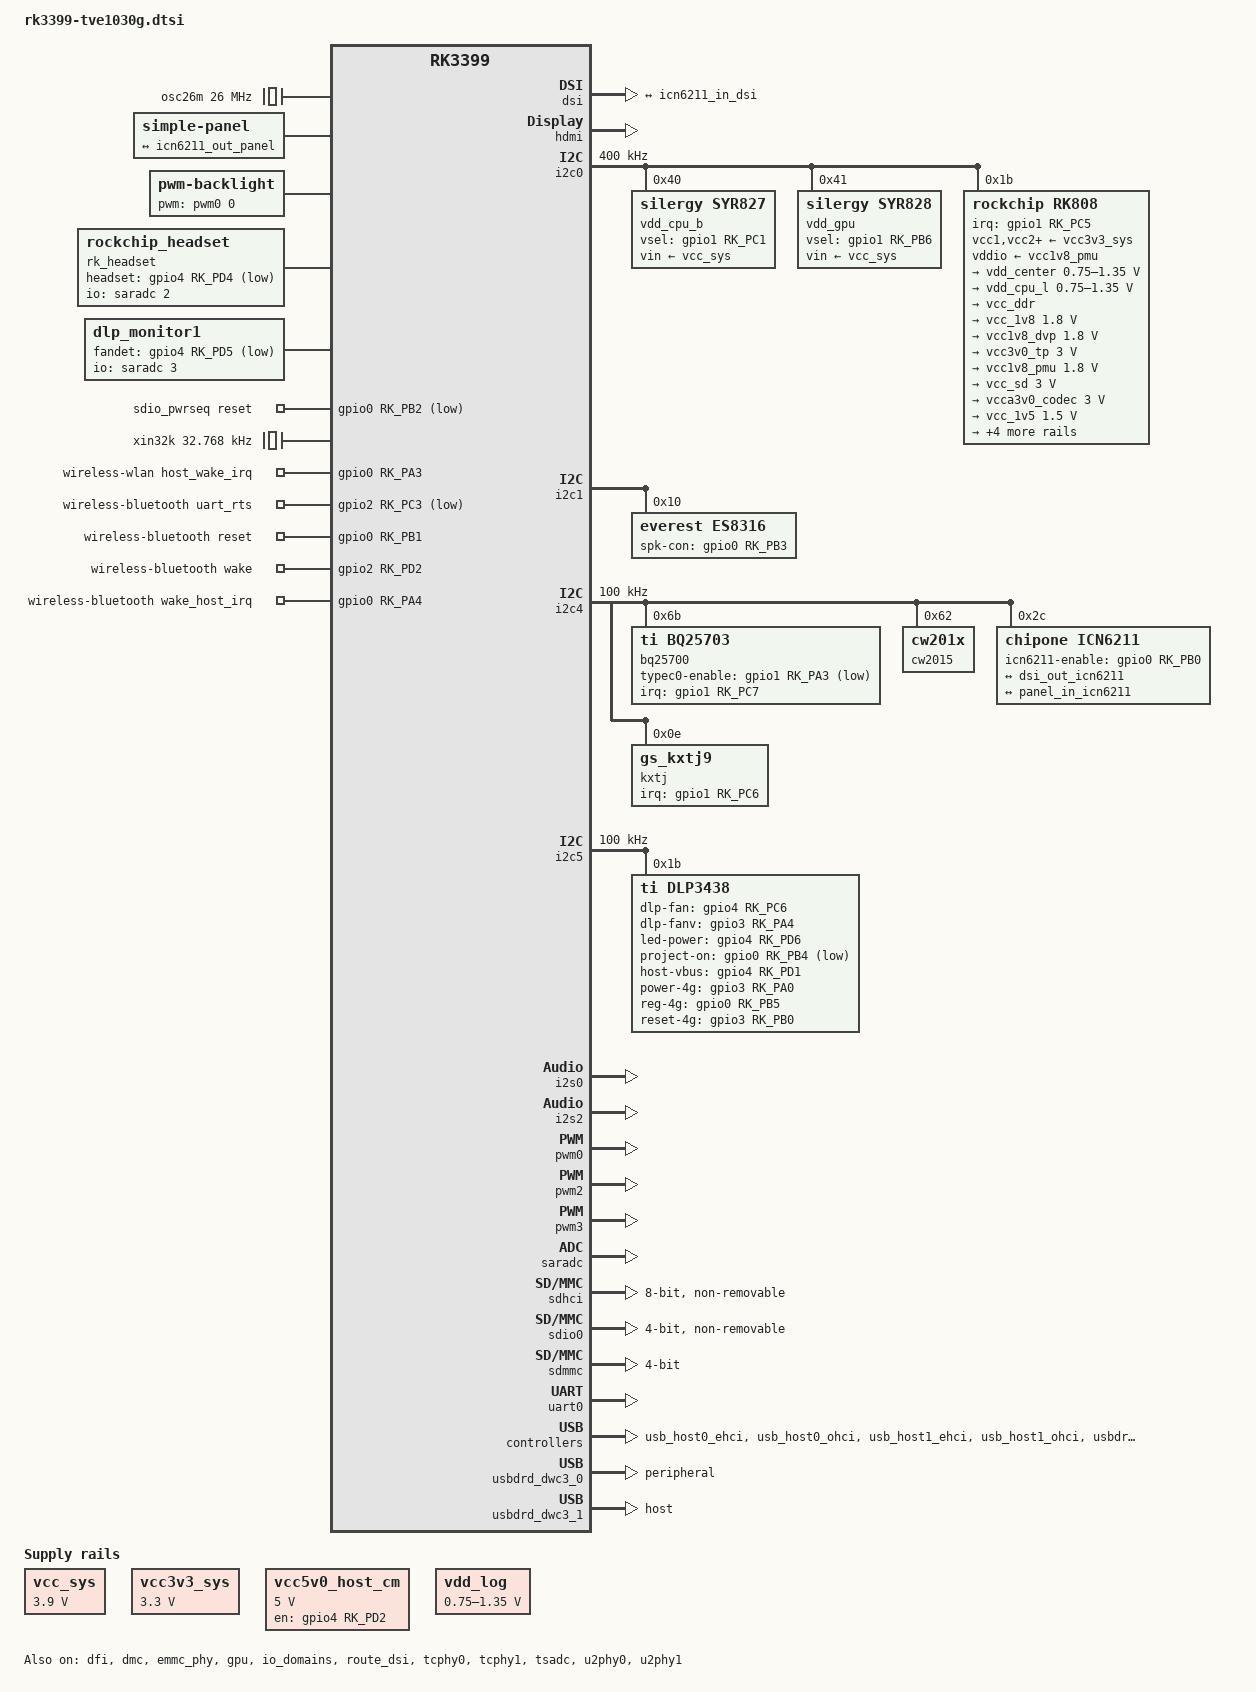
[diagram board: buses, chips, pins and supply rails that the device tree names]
/*
 * Copyright (c) 2018 Fuzhou Rockchip Electronics Co., Ltd
 *
 * SPDX-License-Identifier: (GPL-2.0+ OR MIT)
 */

/dts-v1/;
#include <dt-bindings/pwm/pwm.h>
#include <dt-bindings/sensor-dev.h>
#include "rk3399.dtsi"
#include "rk3399-android.dtsi"
#include "rk3399-opp.dtsi"
#include "rk3399-vop-clk-set.dtsi"
#include <dt-bindings/input/input.h>	//20191116 KentYu added for supporting IR
//dlp_v1/dlp_v2				//KentYu added 20200516

/ {
	osc26m: osc26m {//KentYu
		compatible = "fixed-clock";
		#clock-cells = <0>;
		clock-frequency = <26000000>;
	};

	panel: panel {
		status = "okay";

		compatible = "simple-panel";
		enable-delay-ms = <20>;
		prepare-delay-ms = <20>;
		unprepare-delay-ms = <20>;
		disable-delay-ms = <20>;

		display-timings {
			native-mode = <&timing0>;

			timing0: timing0 {
				clock-frequency = <68000000>;
				hactive = <1280>;
				hfront-porch = <110>;
				hback-porch = <220>;
				hsync-len = <40>;
				vactive = <720>;
				vfront-porch = <5>;
				vback-porch = <20>;
				vsync-len = <5>;
				hsync-active = <0>;
				vsync-active = <0>;
				de-active = <0>;
				pixelclk-active = <0>;
			};
		};

		port {
			panel_in_icn6211: endpoint {
					remote-endpoint = <&icn6211_out_panel>;
			};
		};
	};

	backlight: backlight {
		compatible = "pwm-backlight";
		pwms = <&pwm0 0 25000 0>;
		brightness-levels = <
			  0  20  20  21  21  22  22  23
			 23  24  24  25  25  26  26  27
			 27  28  28  29  29  30  30  31
			 31  32  32  33  33  34  34  35
			 35  36  36  37  37  38  38  39
			 40  41  42  43  44  45  46  47
			 48  49  50  51  52  53  54  55
			 56  57  58  59  60  61  62  63
			 64  65  66  67  68  69  70  71
			 72  73  74  75  76  77  78  79
			 80  81  82  83  84  85  86  87
			 88  89  90  91  92  93  94  95
			 96  97  98  99 100 101 102 103
			104 105 106 107 108 109 110 111
			112 113 114 115 116 117 118 119
			120 121 122 123 124 125 126 127
			128 129 130 131 132 133 134 135
			136 137 138 139 140 141 142 143
			144 145 146 147 148 149 150 151
			152 153 154 155 156 157 158 159
			160 161 162 163 164 165 166 167
			168 169 170 171 172 173 174 175
			176 177 178 179 180 181 182 183
			184 185 186 187 188 189 190 191
			192 193 194 195 196 197 198 199
			200 201 202 203 204 205 206 207
			208 209 210 211 212 213 214 215
			216 217 218 219 220 221 222 223
			224 225 226 227 228 229 230 231
			232 233 234 235 236 237 238 239
			240 241 242 243 244 245 246 247
			248 249 250 251 252 253 254 255
		>;
		default-brightness-level = <200>;
	};

	es8316-sound {
		compatible = "simple-audio-card";
		simple-audio-card,format = "i2s";
		simple-audio-card,name = "rockchip,es8316-codec";
		simple-audio-card,mclk-fs = <256>;
		simple-audio-card,widgets =
			"Microphone", "Mic Jack",
			"Headphone", "Headphone Jack";
		simple-audio-card,routing =
			"Mic Jack", "MICBIAS1",
			"IN1P", "Mic Jack",
			"Headphone Jack", "HPOL",
			"Headphone Jack", "HPOR";
		simple-audio-card,cpu {
			sound-dai = <&i2s0>;
		};
		simple-audio-card,codec {
			sound-dai = <&es8316>;
		};
	};

	rk_headset {
		compatible = "rockchip_headset";
		headset_gpio = <&gpio4 RK_PD4 GPIO_ACTIVE_LOW>;
		pinctrl-names = "default";
		pinctrl-0 = <&hp_det>;
		io-channels = <&saradc 2>;
	};

//dlp_v2				////KentYu added 20200516
	dlp_monitor1 {
		compatible = "dlp_monitor1";
		fandet_gpio = <&gpio4 RK_PD5 GPIO_ACTIVE_LOW>;//GPIO_ACTIVE_LOW means input

		pinctrl-names = "default";
		pinctrl-0 = <&dlp_fandet_gpio>;
		io-channels = <&saradc 3>;
	};
//end

	sdio_pwrseq: sdio-pwrseq {
		compatible = "mmc-pwrseq-simple";
		clocks = <&rk808 1>;
		clock-names = "ext_clock";
		pinctrl-names = "default";
		pinctrl-0 = <&wifi_enable_h>;

		/*
		 * On the module itself this is one of these (depending
		 * on the actual card populated):
		 * - SDIO_RESET_L_WL_REG_ON
		 * - PDN (power down when low)
		 */
		reset-gpios = <&gpio0 RK_PB2 GPIO_ACTIVE_LOW>;
	};

	uboot-charge {
		compatible = "rockchip,uboot-charge";
		rockchip,uboot-charge-on = <0>;
		rockchip,android-charge-on = <1>;
	};

	vcc_sys: vcc-sys {
		compatible = "regulator-fixed";
		regulator-name = "vcc_sys";
		regulator-always-on;
		regulator-boot-on;
		regulator-min-microvolt = <3900000>;
		regulator-max-microvolt = <3900000>;
	};

	vcc3v3_sys: vcc3v3-sys {
		compatible = "regulator-fixed";
		regulator-name = "vcc3v3_sys";
		regulator-always-on;
		regulator-boot-on;
		regulator-min-microvolt = <3300000>;
		regulator-max-microvolt = <3300000>;
	};

/*//jjj
	vcc5v0_host: vcc5v0-host-regulator {
		compatible = "regulator-fixed";
		gpio = <&gpio4 RK_PD1 GPIO_ACTIVE_HIGH>;	//KentYu ???
		pinctrl-names = "default";
		pinctrl-0 = <&host_vbus_drv>;
		regulator-name = "vcc5v0_host";
		regulator-min-microvolt = <5000000>;
		regulator-max-microvolt = <5000000>;
		regulator-always-on;
		enable-active-high;
	};
*/

	vcc5v0_host_cm: vcc5v0-host-regulator {
		compatible = "regulator-fixed";
		gpio = <&gpio4 RK_PD2 GPIO_ACTIVE_HIGH>;	//KentYu 
		pinctrl-names = "default";
		pinctrl-0 = <&host_vbus_cm_drv>;
		regulator-name = "vcc5v0_host_cm";
		regulator-min-microvolt = <5000000>;
		regulator-max-microvolt = <5000000>;
		regulator-always-on;
		enable-active-high;
	};

	vdd_log: vdd-log {
		compatible = "pwm-regulator";
		pwms = <&pwm2 0 25000 1>;
		rockchip,pwm_id= <2>;
		rockchip,pwm_voltage = <900000>;
		regulator-name = "vdd_log";
		regulator-min-microvolt = <750000>;
		regulator-max-microvolt = <1350000>;
		regulator-always-on;
		regulator-boot-on;
	};

	xin32k: xin32k {
		compatible = "fixed-clock";
		clock-frequency = <32768>;
		clock-output-names = "xin32k";
		#clock-cells = <0>;
	};

	wireless-wlan {
		compatible = "wlan-platdata";
		rockchip,grf = <&grf>;
		wifi_chip_type = "ap6255";
		sdio_vref = <1800>;
		WIFI,host_wake_irq = <&gpio0 RK_PA3 GPIO_ACTIVE_HIGH>;
		status = "okay";
	};

	wireless-bluetooth {
		compatible = "bluetooth-platdata";
		clocks = <&rk808 1>;
		clock-names = "ext_clock";
		uart_rts_gpios = <&gpio2 RK_PC3 GPIO_ACTIVE_LOW>;
		pinctrl-names = "default", "rts_gpio";
		pinctrl-0 = <&uart0_rts>;
		pinctrl-1 = <&uart0_gpios>;
		BT,reset_gpio    = <&gpio0 RK_PB1 GPIO_ACTIVE_HIGH>;
		BT,wake_gpio     = <&gpio2 RK_PD2 GPIO_ACTIVE_HIGH>;
		BT,wake_host_irq = <&gpio0 RK_PA4 GPIO_ACTIVE_HIGH>;
		status = "okay";
	};

	dp_sound: dp-sound {
		status = "disable";//KentYu
		compatible = "rockchip,cdndp-sound";
		rockchip,cpu = <&spdif>;
		rockchip,codec = <&cdn_dp 1>;
	};

	/*
	* if enable dp_sound, should disable spdif_sound and spdif_out
	*/
	spdif_sound: spdif-sound {
		compatible = "simple-audio-card";
		status = "disabled";

		simple-audio-card,name = "ROCKCHIP,SPDIF";
		simple-audio-card,cpu {
			sound-dai = <&spdif>;
		};
		simple-audio-card,codec {
			sound-dai = <&spdif_out>;
		};
	};

	spdif_out: spdif-out {
		compatible = "linux,spdif-dit";
		status = "disabled";

		#sound-dai-cells = <0>;
	};
};

//host//KentYu
/*
&cdn_dp {
	status = "okay";
	extcon = <&fusb0>;
	phys = <&tcphy0_dp>;
};
*/

&cpu_l0 {
	cpu-supply = <&vdd_cpu_l>;
};

&cpu_l1 {
	cpu-supply = <&vdd_cpu_l>;
};

&cpu_l2 {
	cpu-supply = <&vdd_cpu_l>;
};

&cpu_l3 {
	cpu-supply = <&vdd_cpu_l>;
};

&cpu_b0 {
	cpu-supply = <&vdd_cpu_b>;
};

&cpu_b1 {
	cpu-supply = <&vdd_cpu_b>;
};

&dfi {
	status = "okay";
};

&dmc {
	status = "okay";
	system-status-freq = <
		/*system status         freq(KHz)*/
		SYS_STATUS_NORMAL       856000
		SYS_STATUS_REBOOT       416000
		SYS_STATUS_SUSPEND      416000
		SYS_STATUS_VIDEO_1080P  856000
		SYS_STATUS_VIDEO_4K     856000
		SYS_STATUS_VIDEO_4K_10B 856000
		SYS_STATUS_PERFORMANCE  856000
		SYS_STATUS_BOOST        856000
		SYS_STATUS_DUALVIEW     856000
		SYS_STATUS_ISP          856000
	>;
    vop-bw-dmc-freq = <
    /* min_bw(MB/s) max_bw(MB/s) freq(KHz) */
            0       577      416000
            578     99999    856000
    >;
	auto-min-freq = <416000>;
	auto-freq-en = <0>;
};

&dmc_opp_table {
	compatible = "operating-points-v2";

	opp-200000000 {
		opp-hz = /bits/ 64 <200000000>;
		opp-microvolt = <900000>;
		status = "disabled";
	};
	opp-300000000 {
		opp-hz = /bits/ 64 <300000000>;
		opp-microvolt = <900000>;
		status = "disabled";
	};
	opp-400000000 {
		opp-hz = /bits/ 64 <400000000>;
		opp-microvolt = <900000>;
        status = "disabled";
	};
    opp-416000000 {
		opp-hz = /bits/ 64 <416000000>;
		opp-microvolt = <900000>;
	};
	opp-528000000 {
		opp-hz = /bits/ 64 <528000000>;
		opp-microvolt = <900000>;
		status = "disabled";
	};
	opp-600000000 {
		opp-hz = /bits/ 64 <600000000>;
		opp-microvolt = <900000>;
		status = "disabled";
	};
	opp-800000000 {
		opp-hz = /bits/ 64 <800000000>;
		opp-microvolt = <900000>;
        status = "disabled";
	};
    opp-856000000 {
		opp-hz = /bits/ 64 <856000000>;
		opp-microvolt = <900000>;
	};
	opp-928000000 {
		opp-hz = /bits/ 64 <928000000>;
		opp-microvolt = <900000>;
		status = "disabled";
	};
	opp-1056000000 {
		opp-hz = /bits/ 64 <1056000000>;
		opp-microvolt = <900000>;
		status = "disabled";
	};
};

&dp_in_vopb {
	status = "disabled";
};

&dsi {
	status = "okay";
	ports{//KentYu
	port@1 {
		reg = <1>;
		dsi_out_icn6211: endpoint {
			remote-endpoint = <&icn6211_in_dsi>;
		};
	};
	};
};

&dsi_in_vopl {
	status = "disabled";
};

&emmc_phy {
	status = "okay";
};

&gpu {
	status = "okay";
	mali-supply = <&vdd_gpu>;
};

&hdmi {
	status = "okay";
};

&hdmi_in_vopb {
	status = "disabled";
};

&i2c0 {
	status = "okay";
	i2c-scl-rising-time-ns = <180>;
	i2c-scl-falling-time-ns = <30>;
	clock-frequency = <400000>;

	vdd_cpu_b: syr837@40 {
		compatible = "silergy,syr827";
		reg = <0x40>;
		vin-supply = <&vcc_sys>;
		regulator-compatible = "fan53555-reg";
		pinctrl-0 = <&vsel1_gpio>;
		vsel-gpios = <&gpio1 RK_PC1 GPIO_ACTIVE_HIGH>;
		regulator-name = "vdd_cpu_b";
		regulator-min-microvolt = <712500>;
		regulator-max-microvolt = <1500000>;
		regulator-ramp-delay = <1000>;
		fcs,suspend-voltage-selector = <1>;
		regulator-always-on;
		regulator-initial-state = <3>;
		regulator-state-mem {
			regulator-off-in-suspend;
		};
	};

	vdd_gpu: syr828@41 {
		compatible = "silergy,syr828";
		status = "okay";
		reg = <0x41>;
		vin-supply = <&vcc_sys>;
		regulator-compatible = "fan53555-reg";
		pinctrl-0 = <&vsel2_gpio>;
		vsel-gpios = <&gpio1 RK_PB6 GPIO_ACTIVE_HIGH>;
		regulator-name = "vdd_gpu";
		regulator-min-microvolt = <735000>;
		regulator-max-microvolt = <1400000>;
		regulator-ramp-delay = <1000>;
		fcs,suspend-voltage-selector = <1>;
		regulator-always-on;
		regulator-boot-on;
		regulator-state-mem {
			regulator-off-in-suspend;
		};
	};

	rk808: pmic@1b {
		compatible = "rockchip,rk808";
		reg = <0x1b>;
		interrupt-parent = <&gpio1>;
		interrupts = <RK_PC5 IRQ_TYPE_LEVEL_LOW>;
		pinctrl-0 = <&pmic_int_l>;
		rockchip,system-power-controller;
		wakeup-source;
		#clock-cells = <1>;
		clock-output-names = "rk808-clkout1", "rk808-clkout2";
		vcc1-supply = <&vcc3v3_sys>;
		vcc2-supply = <&vcc3v3_sys>;
		vcc3-supply = <&vcc3v3_sys>;
		vcc4-supply = <&vcc3v3_sys>;
		vcc6-supply = <&vcc3v3_sys>;
		vcc7-supply = <&vcc3v3_sys>;
		vcc8-supply = <&vcc3v3_sys>;
		vcc9-supply = <&vcc3v3_sys>;
		vcc10-supply = <&vcc3v3_sys>;
		vcc11-supply = <&vcc3v3_sys>;
		vcc12-supply = <&vcc3v3_sys>;
		vddio-supply = <&vcc1v8_pmu>;

		regulators {

			vdd_center: DCDC_REG1 {
				regulator-always-on;
				regulator-boot-on;
				regulator-min-microvolt = <750000>;
				regulator-max-microvolt = <1350000>;
				regulator-ramp-delay = <6001>;
				regulator-name = "vdd_center";
				regulator-state-mem {
					regulator-off-in-suspend;
				};
			};
			vdd_cpu_l: DCDC_REG2 {
				regulator-always-on;
				regulator-boot-on;
				regulator-min-microvolt = <750000>;
				regulator-max-microvolt = <1350000>;
				regulator-ramp-delay = <6001>;
				regulator-name = "vdd_cpu_l";
				regulator-state-mem {
					regulator-off-in-suspend;
				};
			};
			vcc_ddr: DCDC_REG3 {
				regulator-always-on;
				regulator-boot-on;
				regulator-name = "vcc_ddr";
				regulator-state-mem {
					regulator-on-in-suspend;
				};
			};
			vcc_1v8: DCDC_REG4 {
				regulator-always-on;
				regulator-boot-on;
				regulator-min-microvolt = <1800000>;
				regulator-max-microvolt = <1800000>;
				regulator-name = "vcc_1v8";
				regulator-state-mem {
				regulator-on-in-suspend;
					regulator-suspend-microvolt = <1800000>;
				};
			};
			vcc1v8_dvp: LDO_REG1 {
				regulator-always-on;
				regulator-boot-on;
				regulator-min-microvolt = <1800000>;
				regulator-max-microvolt = <1800000>;
				regulator-name = "vcc1v8_dvp";
				regulator-state-mem {
					regulator-off-in-suspend;
				};
			};
			vcc3v0_tp: LDO_REG2 {
				regulator-always-on;
				regulator-boot-on;
				regulator-min-microvolt = <3000000>;
				regulator-max-microvolt = <3000000>;
				regulator-name = "vcc3v0_tp";
				regulator-state-mem {
					regulator-on-in-suspend;
				};
			};
			vcc1v8_pmu: LDO_REG3 {
				regulator-always-on;
				regulator-boot-on;
				regulator-min-microvolt = <1800000>;
				regulator-max-microvolt = <1800000>;
				regulator-name = "vcc1v8_pmu";
				regulator-state-mem {
					regulator-on-in-suspend;
					regulator-suspend-microvolt = <1800000>;
				};
			};
			vcc_sd: LDO_REG4 {
				regulator-always-on;
				regulator-boot-on;
				regulator-min-microvolt = <3000000>;
				regulator-max-microvolt = <3000000>;
				regulator-name = "vcc_sd";
				regulator-state-mem {
					regulator-on-in-suspend;
					regulator-suspend-microvolt = <3000000>;
				};
			};
			vcca3v0_codec: LDO_REG5 {
				regulator-always-on;
				regulator-boot-on;
				regulator-min-microvolt = <3000000>;
				regulator-max-microvolt = <3000000>;
				regulator-name = "vcca3v0_codec";
				regulator-state-mem {
					regulator-off-in-suspend;
				};
			};
			vcc_1v5: LDO_REG6 {
				regulator-always-on;
				regulator-boot-on;
				regulator-min-microvolt = <1500000>;
				regulator-max-microvolt = <1500000>;
				regulator-name = "vcc_1v5";
				regulator-state-mem {
					regulator-on-in-suspend;
					regulator-suspend-microvolt = <1500000>;
				};
			};
			vcca1v8_codec: LDO_REG7 {
				regulator-always-on;
				regulator-boot-on;
				regulator-min-microvolt = <1800000>;
				regulator-max-microvolt = <1800000>;
				regulator-name = "vcca1v8_codec";
				regulator-state-mem {
					regulator-off-in-suspend;
				};
			};
			vcc_3v0: LDO_REG8 {
				regulator-always-on;
				regulator-boot-on;
				regulator-min-microvolt = <3000000>;
				regulator-max-microvolt = <3000000>;
				regulator-name = "vcc_3v0";
				regulator-state-mem {
					regulator-on-in-suspend;
					regulator-suspend-microvolt = <3000000>;
				};
			};
			vcc3v3_s3: SWITCH_REG1 {
				regulator-always-on;
				regulator-boot-on;
				regulator-name = "vcc3v3_s3";
				regulator-state-mem {
					regulator-off-in-suspend;
				};
			};
			vcc3v3_s0: SWITCH_REG2 {
				regulator-boot-on;
				regulator-name = "vcc3v3_s0";
				regulator-state-mem {
					regulator-off-in-suspend;
				};
			};
		};
	};
};

&i2c1 {
	status = "okay";
	i2c-scl-rising-time-ns = <140>;
	i2c-scl-falling-time-ns = <30>;

	//KentYu 20200518 change es8316 address from 22->20
	//es8316: es8316@11 {
	es8316: es8316@10 {
		#sound-dai-cells = <0>;
		compatible = "everest,es8316";
		reg = <0x10>;
		clocks = <&cru SCLK_I2S_8CH_OUT>;
		clock-names = "mclk";
		pinctrl-names = "default";
		pinctrl-0 = <&i2s_8ch_mclk>;
		spk-con-gpio = <&gpio0 RK_PB3 GPIO_ACTIVE_HIGH>;
	};
};

&i2c4 {
	status = "okay";
	i2c-scl-rising-time-ns = <345>;
	i2c-scl-falling-time-ns = <11>;
	clock-frequency = <100000>;

	bq25700: bq25700@6b {
		compatible = "ti,bq25703";
		reg = <0x6b>;
//host		extcon = <&fusb0>;//KentYu
		interrupt-parent = <&gpio1>;
		interrupts = <RK_PC7 IRQ_TYPE_LEVEL_LOW>;
		pinctrl-names = "default";
		pinctrl-0 = <&charger_ok>;
		ti,charge-current = <1500000>;
		ti,max-charge-voltage = <8704000>;
		ti,max-input-voltage = <20000000>;
		ti,max-input-current = <6000000>;
		ti,input-current-sdp = <500000>;
		ti,input-current-dcp = <2000000>;
		ti,input-current-cdp = <2000000>;
		ti,input-current-dc = <2000000>;
		ti,minimum-sys-voltage = <6700000>;
		ti,otg-voltage = <5000000>;
		ti,otg-current = <500000>;
		ti,input-current = <500000>;
		pd-charge-only = <0>;
		typec0-enable-gpios = <&gpio1 RK_PA3 GPIO_ACTIVE_LOW>;
		status = "okay";
	};

	cw2015: cw2015@62 {
		status = "okay";
		compatible = "cw201x";
		reg = <0x62>;
		bat_config_info = <0x15 0xA8 0x5D 0x5D 0x59 0x55 0x57 0x50
				   0x4B 0x4F 0x55 0x53 0x43 0x37 0x2F 0x28
				   0x21 0x18 0x15 0x17 0x27 0x43 0x57 0x4F
				   0x13 0x5E 0x0A 0xE1 0x19 0x31 0x3C 0x46
				   0x4C 0x52 0x50 0x54 0x44 0x1E 0x7E 0x4C
				   0x1C 0x4A 0x52 0x87 0x8F 0x91 0x94 0x52
				   0x82 0x8C 0x92 0x96 0x00 0xAD 0xFB 0xCB
				   0x2F 0x7D 0x72 0xA5 0xB5 0xC1 0x1C 0x09>;
		monitor_sec = <2>;
		virtual_power = <0>;
		divider_res1 = <200>;
		divider_res2 = <200>;
	};

	//KentYu
	icn6211@2c {
		status = "okay";

		compatible = "chipone,icn6211";
		reg = <0x2c>;
		clocks = <&osc26m>;
		clock-names = "refclk";
		icn6211-enable-gpios = <&gpio0 RK_PB0 GPIO_ACTIVE_HIGH>;
		pinctrl-names = "default";
		pinctrl-0 = <&icn6211_enable_gpio>;

		ports {
			#address-cells = <1>;
			#size-cells = <0>;

			port@0 {
				reg = <0>;

				icn6211_in_dsi: endpoint {
					remote-endpoint = <&dsi_out_icn6211>;
				};
			};

			port@1 {
				reg = <1>;

				icn6211_out_panel: endpoint {
					remote-endpoint = <&panel_in_icn6211>;
				};
			};
		};

	};

//host
/*
	fusb0: fusb30x@22 {
		compatible = "fairchild,fusb302";
		reg = <0x22>;
		pinctrl-names = "default";
		pinctrl-0 = <&fusb0_int>;
		vbus-5v-gpios = <&gpio1 RK_PD0 GPIO_ACTIVE_HIGH>;
		int-n-gpios = <&gpio1 RK_PA2 GPIO_ACTIVE_HIGH>;
		discharge-gpios = <&gpio0 RK_PB4 GPIO_ACTIVE_HIGH>;
		charge-dev = <&bq25700>;
		support-uboot-charge = <1>;
		port-num = <0>;
		status = "okay";
	};
*/

	kxtj: kxtj2@0e {
		status = "okay";
		compatible = "gs_kxtj9";
		pinctrl-names = "default";
		pinctrl-0 = <&kxtj2_irq_gpio>;
		reg = <0x0e>;
		irq-gpio = <&gpio1 RK_PC6 IRQ_TYPE_EDGE_RISING>;
		type = <SENSOR_TYPE_ACCEL>;
		irq_enable = <0>;
		poll_delay_ms = <30>;
		power-off-in-suspend = <1>;
		layout = <5>;
	};
};

&i2c5 {
	status = "okay";
	i2c-scl-rising-time-ns = <150>;
	i2c-scl-falling-time-ns = <30>;
	clock-frequency = <100000>;

	dlp3438: dlp3438@1b {
		compatible = "ti,dlp3438";
		reg = <0x1b>;

//dlp_v1
/*
		dlp-fan-gpios = <&gpio4 RK_PC6 GPIO_ACTIVE_HIGH>;
		led-power-gpios = <&gpio4 RK_PD6 GPIO_ACTIVE_HIGH>;
		project-on-gpios = <&gpio0 RK_PB4 GPIO_ACTIVE_HIGH>;
*/
//dlp_v2				//KentYu added 20200516
		dlp-fan-gpios = <&gpio4 RK_PC6 GPIO_ACTIVE_HIGH>;
		dlp-fanv-gpios = <&gpio3 RK_PA4 GPIO_ACTIVE_HIGH>;
		led-power-gpios = <&gpio4 RK_PD6 GPIO_ACTIVE_HIGH>;
		project-on-gpios = <&gpio0 RK_PB4 GPIO_ACTIVE_LOW>;
		host-vbus-gpios = <&gpio4 RK_PD1 GPIO_ACTIVE_HIGH>;	//jjj
//end
		power-4g-gpios = <&gpio3 RK_PA0 GPIO_ACTIVE_HIGH>;
		reg-4g-gpios = <&gpio0 RK_PB5 GPIO_ACTIVE_HIGH>;
		reset-4g-gpios = <&gpio3 RK_PB0 GPIO_ACTIVE_HIGH>;

		pinctrl-names = "default";
//		pinctrl-0 = <&dlp_fan_gpio &led_power_gpio &project_on_gpio &power_4g_gpio &reg_4g_gpio &reset_4g_gpio>;
//dlp_v1
//		pinctrl-0 = <&dlp_fan_gpio &led_power_gpio &project_on_gpio>;
//dlp_v2				//KentYu added 20200516
		pinctrl-0 = <&dlp_fan_gpio &dlp_fanv_gpio &led_power_gpio &project_on_gpio &host_vbus_drv>;
		pinctrl-1 = <&power_4g_gpio &reg_4g_gpio &reset_4g_gpio>;
//end

		status = "okay";
	};

	gslx680: gslx680@40 {
		compatible = "gslX680_tve";
		reg = <0x40>;
		//pinctrl-names = "default";
		//pinctrl-0 = <&tp_irq_gpio>;
		//20191120 KentYu masked touch-gpio = <&gpio3 RK_PB0 IRQ_TYPE_EDGE_RISING>;
		reset-gpio = <&gpio4 RK_PC6 GPIO_ACTIVE_LOW>;
		max-x = <1200>;
		max-y = <1920>;
		tp-size = <80>;
		tp-supply = <&vcc3v0_tp>;
		//20191119 KentYu masked
		//status = "okay";
		status = "disable";
	};
};

&i2s0 {
	status = "okay";
	rockchip,i2s-broken-burst-len;
	rockchip,playback-channels = <8>;
	rockchip,capture-channels = <8>;
	#sound-dai-cells = <0>;
};

&i2s2 {
	#sound-dai-cells = <0>;
	status = "okay";
};

&io_domains {
	status = "okay";
	bt656-supply = <&vcc1v8_dvp>;
	audio-supply = <&vcca1v8_codec>;
	sdmmc-supply = <&vcc_sd>;
	gpio1830-supply = <&vcc_3v0>;
};

&isp0_mmu {
	status = "okay";
};

&isp1_mmu {
	status = "okay";
};

&pinctrl {

	charger {
		charger_ok: charge-ok {
			rockchip,pins =
				<1 RK_PC7 RK_FUNC_GPIO &pcfg_pull_up>;
		};
	};

//host//KentYu
/*
	fusb30x {
		fusb0_int: fusb0-int {
			rockchip,pins =
				<1 RK_PA2 RK_FUNC_GPIO &pcfg_pull_up>,
				<0 RK_PB4 RK_FUNC_GPIO &pcfg_pull_up>;
			};
	};
*/

	headphone {
		hp_det: hp-det {
			rockchip,pins = <4 RK_PD4 RK_FUNC_GPIO &pcfg_pull_up>;
		};
	};

	kxtj2 {
		kxtj2_irq_gpio: kxtj2-irq-gpio {
			rockchip,pins = <1 RK_PC6 RK_FUNC_GPIO &pcfg_pull_none>;
		};
	};

	lcd_rst {
		lcd_rst_gpio: lcd-rst-gpio {
			rockchip,pins = <3 RK_PA4 RK_FUNC_GPIO &pcfg_pull_none>;
		};
	};

	pmic {
		pmic_int_l: pmic-int-l {
			rockchip,pins =
				<1 RK_PC5 RK_FUNC_GPIO &pcfg_pull_up>;
		};
		vsel1_gpio: vsel1-gpio {
			rockchip,pins =
				<1 RK_PC1 RK_FUNC_GPIO &pcfg_pull_down>;
		};
		vsel2_gpio: vsel2-gpio {
			rockchip,pins =
				<1 RK_PB6 RK_FUNC_GPIO &pcfg_pull_down>;
		};
	};

	sdio-pwrseq {
		wifi_enable_h: wifi-enable-h {
			rockchip,pins = <0 RK_PB2 RK_FUNC_GPIO &pcfg_pull_none>;
		};
	};

//20191120 KentYu masked for supporting 4G module
//	tp_irq {
//		tp_irq_gpio: tp-irq-gpio {
//			rockchip,pins = <3 RK_PB0 RK_FUNC_GPIO &pcfg_pull_up>;
//		};
//	};

	usb2 {
		host_vbus_drv: host-vbus-drv {
			rockchip,pins =
				<4 RK_PD1 RK_FUNC_GPIO &pcfg_pull_none>;
		};

		host_vbus_cm_drv: host-vbus-cm-drv {//KentYu
			rockchip,pins =
				<4 RK_PD2 RK_FUNC_GPIO &pcfg_pull_none>;
		};
	};

	wireless-bluetooth {
		uart0_gpios: uart0-gpios {
			rockchip,pins = <2 RK_PC3 RK_FUNC_GPIO &pcfg_pull_none>;
		};
	};

	icn6211_gpio {//KentYu
		icn6211_enable_gpio: icn6211-enable-gpio {
			rockchip,pins =
				<0 RK_PB0 RK_FUNC_GPIO &pcfg_pull_none>;
		};
	};

//dlp_v1
/*
	dlp3438_gpio {//KentYu
		dlp_fan_gpio: dlp-fan-gpio {
			rockchip,pins =
				<4 RK_PC6 RK_FUNC_GPIO &pcfg_pull_none>;
		};

		led_power_gpio: led-power-gpio {
			rockchip,pins =
				<4 RK_PD6 RK_FUNC_GPIO &pcfg_pull_none>;
		};

		project_on_gpio: project-on-gpio {
			rockchip,pins =
				<0 RK_PB4 RK_FUNC_GPIO &pcfg_pull_none>;
		};

	};
*/
//dlp_v2				//KentYu added 20200516
	dlp3438_gpio {//KentYu
		dlp_fan_gpio: dlp-fan-gpio {
			rockchip,pins =	<4 RK_PC6 RK_FUNC_GPIO &pcfg_pull_none>;
		};

		dlp_fanv_gpio: dlp-fanv-gpio {
			rockchip,pins =	<3 RK_PA4 RK_FUNC_GPIO &pcfg_pull_none>;
		};

		led_power_gpio: led-power-gpio {
			rockchip,pins =	<4 RK_PD6 RK_FUNC_GPIO &pcfg_pull_none>;
		};

		project_on_gpio: project-on-gpio {
			rockchip,pins =	<0 RK_PB4 RK_FUNC_GPIO &pcfg_pull_none>;
		};

		dlp_fandet_gpio: dlp-fandet-gpio {
			rockchip,pins =	<4 RK_PD5 RK_FUNC_GPIO &pcfg_pull_none>;
		};

	};
//end

	mobile_4g_gpio {//KentYu
		power_4g_gpio: power-4g-gpio {
			rockchip,pins =
				<3 RK_PA0 RK_FUNC_GPIO &pcfg_pull_none>;
		};

		reg_4g_gpio: reg-4g-gpio {
			rockchip,pins =
				<0 RK_PB5 RK_FUNC_GPIO &pcfg_pull_none>;
		};

		reset_4g_gpio: reset-4g-gpio {
			rockchip,pins =
				<3 RK_PB0 RK_FUNC_GPIO &pcfg_pull_none>;
		};
	};

};

&pmu_io_domains {
	status = "okay";
	pmu1830-supply = <&vcc_1v8>;
};

&pwm0 {
	status = "okay";
};

&pwm2 {
	status = "okay";
};

//20191116 KentYu added for supporting IR
&pwm3 {
	status = "okay";

	pinctrl-names = "default";
	pinctrl-0 = <&pwm3a_pin>;
	interrupts = <GIC_SPI 61 IRQ_TYPE_LEVEL_HIGH 0>;
	compatible = "rockchip,remotectl-pwm";
	remote_pwm_id = <3>;
	handle_cpu_id = <1>;

	ir_key1 {
		rockchip,usercode = <0x4040>;
		rockchip,key_table =
			<0xf2	KEY_REPLY>,
			<0xba	KEY_BACK>,
			<0xf4	KEY_UP>,
			<0xf1	KEY_DOWN>,
			<0xef	KEY_LEFT>,
			<0xee	KEY_RIGHT>,
			<0xbd	KEY_HOME>,
			<0xea	KEY_VOLUMEUP>,
			<0xe3	KEY_VOLUMEDOWN>,
			<0xe2	KEY_SEARCH>,
			<0xb2	KEY_POWER>,
			<0xbc	KEY_MUTE>,
			<0xec	KEY_MENU>,
			<0xbf	0x190>,
			<0xe0	0x191>,
			<0xe1	0x192>,
			<0xe9	183>,
			<0xe6	248>,
			<0xe8	185>,
			<0xe7	186>,
			<0xf0	388>,
			<0xbe	0x175>;
	};

	ir_key2 {
		rockchip,usercode = <0xff00>;
		rockchip,key_table =
			<0xf9	KEY_HOME>,
			<0xbf	KEY_BACK>,
			<0xfb	KEY_MENU>,
			<0xaa	KEY_REPLY>,
			<0xb9	KEY_UP>,
			<0xe9	KEY_DOWN>,
			<0xb8	KEY_LEFT>,
			<0xea	KEY_RIGHT>,
			<0xeb	KEY_VOLUMEDOWN>,
			<0xef	KEY_VOLUMEUP>,
			<0xf7	KEY_MUTE>,
			<0xe7	KEY_POWER>,
			<0xfc	KEY_POWER>,
			<0xa9	KEY_VOLUMEDOWN>,
			<0xa8	KEY_VOLUMEDOWN>,
			<0xe0	KEY_VOLUMEDOWN>,
			<0xa5	KEY_VOLUMEDOWN>,
			<0xab	183>,
			<0xb7	388>,
			<0xe8	388>,
			<0xf8	184>,
			<0xaf	185>,
			<0xed	KEY_VOLUMEDOWN>,
			<0xee	186>,
			<0xb3	KEY_VOLUMEDOWN>,
			<0xf1	KEY_VOLUMEDOWN>,
			<0xf2	KEY_VOLUMEDOWN>,
			<0xf3	KEY_SEARCH>,
			<0xb4	KEY_VOLUMEDOWN>,
			<0xbe	KEY_SEARCH>;
	};

	ir_key3 {
		rockchip,usercode = <0x1dcc>;
		rockchip,key_table =
			<0xee	KEY_REPLY>,
			<0xf0	KEY_BACK>,
			<0xf8	KEY_UP>,
			<0xbb	KEY_DOWN>,
			<0xef	KEY_LEFT>,
			<0xed	KEY_RIGHT>,
			<0xfc	KEY_HOME>,
			<0xf1	KEY_VOLUMEUP>,
			<0xfd	KEY_VOLUMEDOWN>,
			<0xb7	KEY_SEARCH>,
			<0xff	KEY_POWER>,
			<0xf3	KEY_MUTE>,
			<0xbf	KEY_MENU>,
			<0xf9	0x191>,
			<0xf5	0x192>,
			<0xb3	388>,
			<0xbe	KEY_1>,
			<0xba	KEY_2>,
			<0xb2	KEY_3>,
			<0xbd	KEY_4>,
			<0xf9	KEY_5>,
			<0xb1	KEY_6>,
			<0xfc	KEY_7>,
			<0xf8	KEY_8>,
			<0xb0	KEY_9>,
			<0xb6	KEY_0>,
			<0xb5	KEY_BACKSPACE>;
	};
};

//20191205 KentYu masked
/*
&rk_key {
	status = "okay";
	compatible = "rockchip,key";
	io-channels = <&saradc 1>;

	vol-up-key {
		linux,code = <114>;
		label = "volume up";
		rockchip,adc_value = <170>;
	};

	vol-down-key {
		linux,code = <115>;
		label = "volume down";
		rockchip,adc_value = <1>;
	};

	power-key {
		gpios = <&gpio0 5 GPIO_ACTIVE_LOW>;
		linux,code = <116>;
		label = "power";
		gpio-key,wakeup;
	};
};
*/

&rockchip_suspend {
	status = "okay";
	rockchip,sleep-debug-en = <1>;
	rockchip,sleep-mode-config = <
		(0
		| RKPM_SLP_ARMPD
		| RKPM_SLP_PERILPPD
		| RKPM_SLP_DDR_RET
		| RKPM_SLP_PLLPD
		| RKPM_SLP_CENTER_PD
		| RKPM_SLP_OSC_DIS
		| RKPM_SLP_AP_PWROFF
		)
	>;
	rockchip,wakeup-config = <
		(0
		| RKPM_GPIO_WKUP_EN
		)
	>;
	rockchip,pwm-regulator-config = <
		(0
		| PWM2_REGULATOR_EN
		)
	>;
	rockchip,power-ctrl =
		<&gpio1 RK_PC1 GPIO_ACTIVE_HIGH>,
		<&gpio1 RK_PB6 GPIO_ACTIVE_HIGH>;
};

&route_dsi {
	status = "okay";
	logo,mode = "center";
};

&saradc {
	status = "okay";
};

&sdhci {
	bus-width = <8>;
	mmc-hs400-1_8v;
	supports-emmc;
	non-removable;
	keep-power-in-suspend;
	mmc-hs400-enhanced-strobe;
	status = "okay";
};

&sdio0 {
	max-frequency = <100000000>;
	supports-sdio;
	bus-width = <4>;
	disable-wp;
	cap-sd-highspeed;
	cap-sdio-irq;
	keep-power-in-suspend;
	mmc-pwrseq = <&sdio_pwrseq>;
	non-removable;
	num-slots = <1>;
	pinctrl-names = "default";
	pinctrl-0 = <&sdio0_bus4 &sdio0_cmd &sdio0_clk>;
	sd-uhs-sdr104;
	status = "okay";
};

&sdmmc {
	clock-frequency = <50000000>;
	clock-freq-min-max = <400000 150000000>;
	supports-sd;
	bus-width = <4>;
	cap-mmc-highspeed;
	cap-sd-highspeed;
	disable-wp;
	num-slots = <1>;
	//sd-uhs-sdr104;
	vqmmc-supply = <&vcc_sd>;
	pinctrl-names = "default";
	pinctrl-0 = <&sdmmc_clk &sdmmc_cmd &sdmmc_cd &sdmmc_bus4>;
	status = "okay";
};

&tcphy0 {
	status = "okay";
};

&tcphy1 {
	status = "okay";
};

&tsadc {
	rockchip,hw-tshut-mode = <1>; /* tshut mode 0:CRU 1:GPIO */
	rockchip,hw-tshut-polarity = <1>; /* tshut polarity 0:LOW 1:HIGH */
	status = "okay";
};

&u2phy0 {
	status = "okay";

	u2phy0_otg: otg-port {
		status = "okay";
	};

	u2phy0_host: host-port {
		status = "okay";
	};
};

&u2phy1 {
	status = "okay";

	u2phy1_otg: otg-port {
		status = "okay";
	};

	u2phy1_host: host-port {
		phy-supply = <&vcc5v0_host_cm>;	//KentYu
		status = "okay";
	};
};

&uart0 {
	pinctrl-names = "default";
	pinctrl-0 = <&uart0_xfer &uart0_cts>;
	status = "okay";
};

&usb_host0_ehci {
	status = "okay";
};

&usb_host0_ohci {
	status = "okay";
};

//KentYu add
&usb_host1_ehci {
	status = "okay";
};

&usb_host1_ohci {
	status = "okay";
};

&usbdrd3_0 {
	status = "okay";
};

&usbdrd3_1 {
	status = "okay";
};

&usbdrd_dwc3_0 {
        //20200717 KentYu: peripheral for ADB device
	dr_mode = "peripheral";
	status = "okay";
};

&usbdrd_dwc3_1 {
	dr_mode = "host";
	status = "okay";
};

&vopb {
	assigned-clocks = <&cru DCLK_VOP0_DIV>;
	assigned-clock-parents = <&cru PLL_CPLL>;
};

&vopl {
	assigned-clocks = <&cru DCLK_VOP1_DIV>;
	assigned-clock-parents = <&cru PLL_VPLL>;
};
